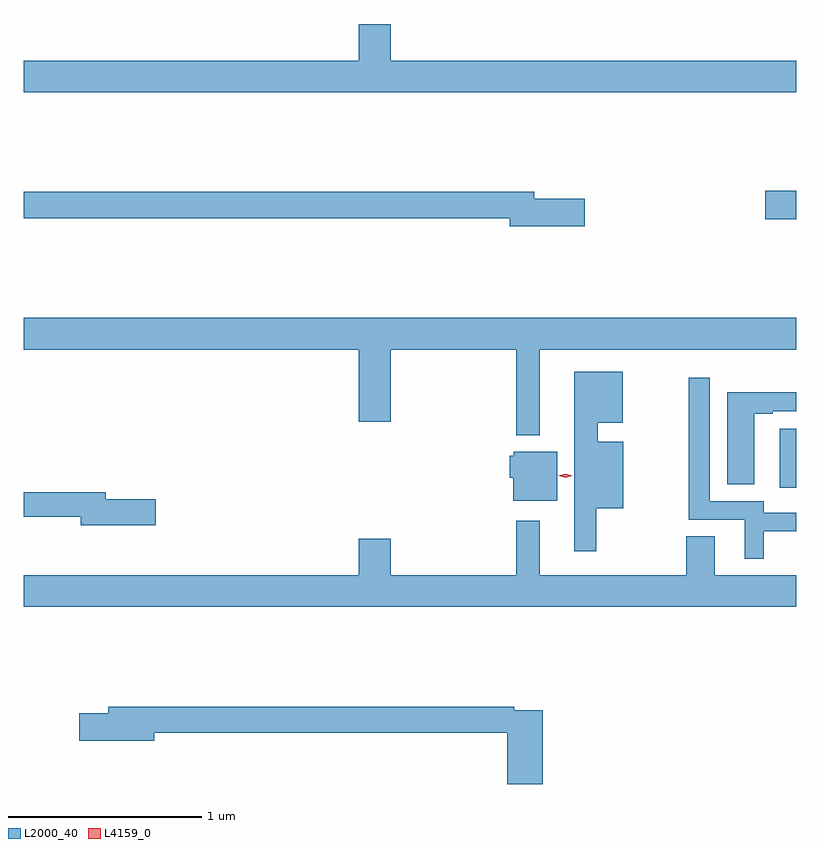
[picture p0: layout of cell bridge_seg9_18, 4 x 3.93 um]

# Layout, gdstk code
import gdstk
lib = gdstk.Library(unit=1e-6, precision=1e-09)
def R(c, l, rs):  # rectangles x0, y0, x1, y1
    for r in rs: c.add(gdstk.rectangle(r[:2], r[2:], *l))
def P(c, l, *ps):  # polygons
    for p in ps: c.add(gdstk.Polygon(p, *l))
L2000_40 = (2000, 40)
L4159_0 = (4159, 0)

bridge_seg9_18 = lib.new_cell('bridge_seg9_18')
R(bridge_seg9_18, L2000_40, [(922.43,1235.664,922.516,1235.971), (922.356,1237.055,922.516,1237.202)])
P(bridge_seg9_18, L2000_40, [(922.516,1237.876),(920.416,1237.876),(920.416,1238.065),(920.252,1238.065),(920.252,1237.876),(918.516,1237.876),(918.516,1237.712),(922.516,1237.712)],
  [(921.421,1237.16),(921.16,1237.16),(921.16,1237.196),(918.516,1237.196),(918.516,1237.06),(921.032,1237.06),(921.032,1237.018),(921.421,1237.018)],
  [(921.187,1236.38),(922.516,1236.38),(922.516,1236.544),(918.516,1236.544),(918.516,1236.38),(920.252,1236.38),(920.252,1236.006),(920.416,1236.006),(920.416,1236.38),(921.066,1236.38),(921.066,1235.936),(921.187,1235.936)],
  [(921.479,1235.558),(921.619,1235.558),(921.619,1235.902),(921.487,1235.902),(921.487,1236.002),(921.616,1236.002),(921.616,1236.265),(921.365,1236.265),(921.365,1235.337),(921.479,1235.337)],
  [(922.348,1235.439),(922.516,1235.439),(922.516,1235.535),(922.347,1235.535),(922.347,1235.595),(922.068,1235.595),(922.068,1236.235),(921.96,1236.235),(921.96,1235.499),(922.25,1235.499),(922.25,1235.298),(922.348,1235.298)],
  [(922.297,1236.048),(922.393,1236.048),(922.393,1236.06),(922.516,1236.06),(922.516,1236.159),(922.157,1236.159),(922.157,1235.682),(922.297,1235.682)],
  [(921.277,1235.851),(921.054,1235.851),(921.054,1235.829),(921.032,1235.829),(921.032,1235.715),(921.05,1235.715),(921.05,1235.597),(921.277,1235.597)],
  [(919.201,1235.606),(918.94,1235.606),(918.94,1235.642),(918.516,1235.642),(918.516,1235.514),(918.812,1235.514),(918.812,1235.471),(919.201,1235.471)],
  [(922.516,1235.212),(922.093,1235.212),(922.093,1235.414),(921.946,1235.414),(921.946,1235.212),(921.187,1235.212),(921.187,1235.494),(921.066,1235.494),(921.066,1235.212),(920.416,1235.212),(920.416,1235.401),(920.252,1235.401),(920.252,1235.212),(918.516,1235.212),(918.516,1235.048),(922.516,1235.048)],
  [(921.203,1234.512),(921.056,1234.512),(921.056,1234.532),(918.953,1234.532),(918.953,1234.496),(918.804,1234.496),(918.804,1234.354),(919.192,1234.354),(919.192,1234.396),(921.02,1234.396),(921.02,1234.131),(921.203,1234.131)])
P(bridge_seg9_18, L4159_0, [(921.321,1235.717),(921.284,1235.727),(921.284,1235.727),(921.284,1235.727),(921.321,1235.737),(921.357,1235.727),(921.357,1235.727),(921.357,1235.727)])

lib.write_gds('bridge_seg9_18.gds')
